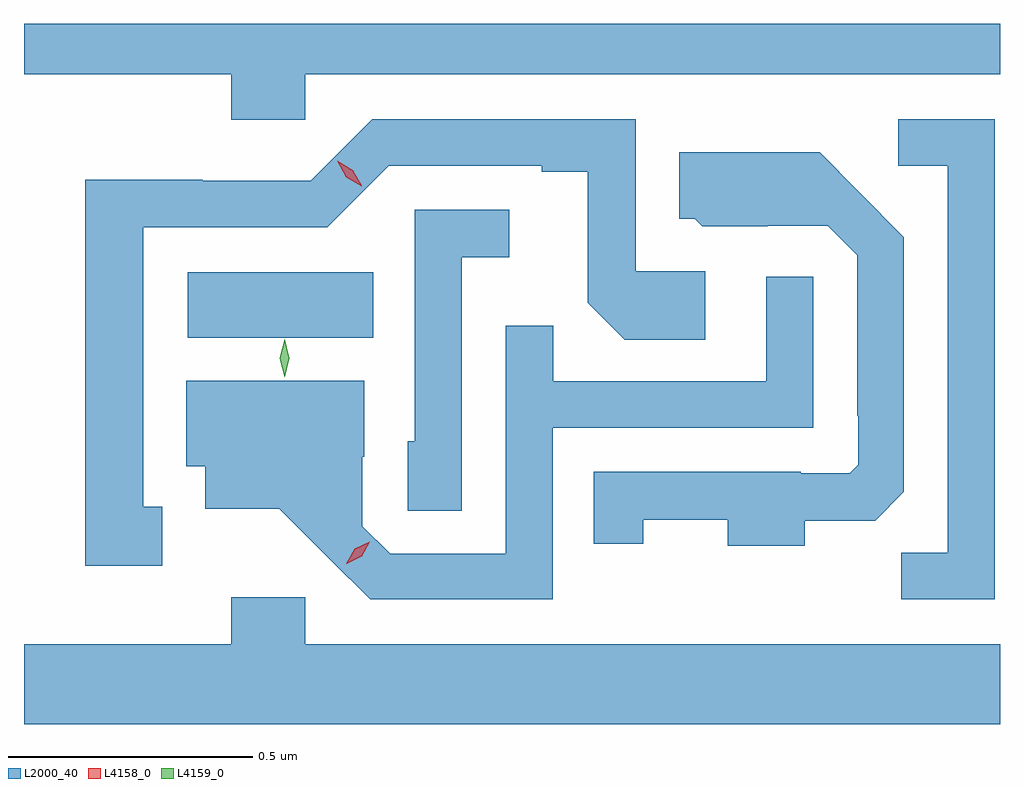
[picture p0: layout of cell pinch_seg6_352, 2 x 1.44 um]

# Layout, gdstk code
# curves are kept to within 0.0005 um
import gdstk
lib = gdstk.Library(unit=1e-6, precision=1e-09)
def R(c, l, rs):  # rectangles x0, y0, x1, y1
    for r in rs: c.add(gdstk.rectangle(r[:2], r[2:], *l))
def P(c, l, *ps):  # polygons
    for p in ps: c.add(gdstk.Polygon(p, *l))
L2000_40 = (2000, 40)
L4158_0 = (4158, 0)
L4159_0 = (4159, 0)

pinch_seg6_352 = lib.new_cell('pinch_seg6_352')
R(pinch_seg6_352, L2000_40, [(698.148,946.796,698.528,946.93)])
P(pinch_seg6_352, L2000_40, [(698.388,947.336),(699.812,947.336),(699.812,947.439),(697.812,947.439),(697.812,947.336),(698.237,947.336),(698.237,947.243),(698.388,947.243)],
  [(699.801,947.244),(699.603,947.244),(699.603,947.148),(699.705,947.148),(699.705,946.355),(699.61,946.355),(699.61,946.26),(699.801,946.26)],
  [(698.095,946.449),(698.056,946.449),(698.056,947.022),(698.433,947.022),(698.559,947.148),(698.873,947.148),(698.873,947.136),(698.967,947.136),(698.967,946.868),(699.043,946.792),(699.208,946.792),(699.208,946.932),(699.066,946.932),(699.066,947.244),(698.526,947.244),(698.4,947.118),(698.178,947.118),(698.178,947.12),(697.938,947.12),(697.938,946.329),(698.095,946.329)],
  [(699.412,946.421),(699.556,946.421),(699.615,946.48),(699.615,947.002),(699.443,947.176),(699.155,947.176),(699.155,947.04),(699.186,947.04),(699.202,947.024),(699.336,947.024),(699.336,947.025),(699.459,947.025),(699.519,946.965),(699.519,946.636),(699.522,946.636),(699.522,946.536),(699.504,946.518),(699.404,946.518),(699.404,946.521),(698.98,946.521),(698.98,946.374),(699.081,946.374),(699.081,946.423),(699.254,946.423),(699.254,946.37),(699.412,946.37)],
  [(698.709,946.961),(698.806,946.961),(698.806,947.058),(698.613,947.058),(698.613,946.584),(698.598,946.584),(698.598,946.441),(698.709,946.441)],
  [(698.895,946.611),(699.429,946.611),(699.429,946.921),(699.333,946.921),(699.333,946.707),(698.897,946.707),(698.897,946.82),(698.799,946.82),(698.799,946.353),(698.562,946.353),(698.505,946.41),(698.505,946.552),(698.509,946.552),(698.509,946.708),(698.144,946.708),(698.144,946.532),(698.183,946.532),(698.183,946.445),(698.335,946.445),(698.522,946.26),(698.895,946.26)],
  [(699.812,946.168),(698.388,946.168),(698.388,946.264),(698.237,946.264),(698.237,946.168),(697.812,946.168),(697.812,946.004),(699.812,946.004)])
P(pinch_seg6_352, L4158_0, [(698.472,946.333),(698.472,946.333),(698.49,946.363),(698.521,946.378),(698.521,946.378),(698.521,946.378),(698.504,946.348),(698.473,946.333)],
  [(698.504,947.106),(698.472,947.125),(698.454,947.158),(698.454,947.158),(698.454,947.158),(698.486,947.139),(698.504,947.107),(698.504,947.106)])
P(pinch_seg6_352, L4159_0, [(698.346,946.715),(698.346,946.715),(698.336,946.754),(698.346,946.793),(698.346,946.793),(698.346,946.793),(698.356,946.754),(698.346,946.715)])

lib.write_gds('pinch_seg6_352.gds')
